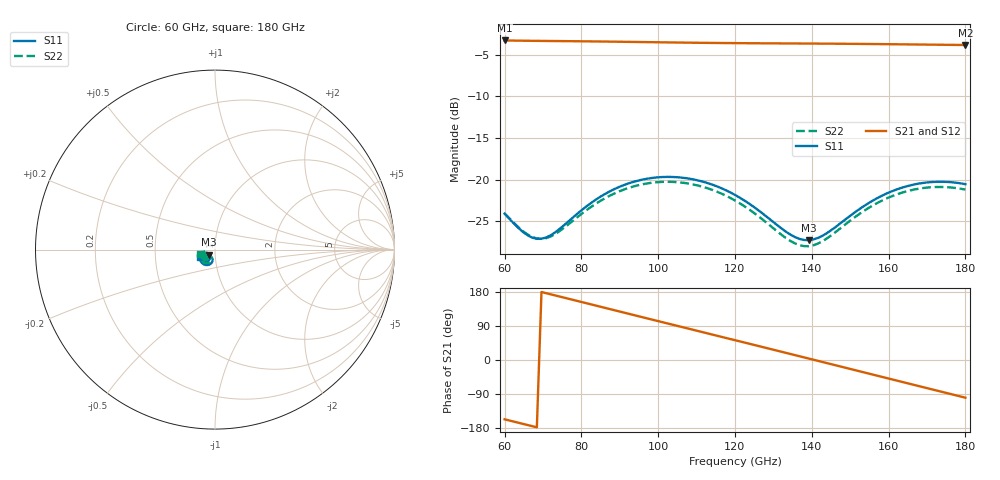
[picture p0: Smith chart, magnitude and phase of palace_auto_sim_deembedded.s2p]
! Created with skrf 1.11.0 (http://scikit-rf.org).
# GHz S DB R 50.0
!freq dBS11 angS11 dBS21 angS21 dBS12 angS12 dBS22 angS22
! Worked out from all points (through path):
!   101 points, 60 GHz to 180 GHz, reference 50 ohm
!   highest |S21| = -3.29 dB at 60 GHz (marker M1); lowest = -3.8 dB at 180 GHz (marker M2)
!   group delay of S21, straight-line fit = 7.01 ps
!   lowest |S11| = -27.2 dB at 139.2 GHz (marker M3), VSWR 1.09, Z = 46.7 - j2.63 ohm
!   |S11| at or under -10 dB: start of sweep to end of sweep
!   |S22| runs from -28.0 to -20.2 dB; largest |S21 - S12| = 7.7e-14
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60  -24.07 -145.5  -3.29 -156.6  -3.29 -156.6  -24.04 -147.8
66  -26.66 -133.9  -3.33 -171.6  -3.33 -171.6  -26.57 -138.0
69.6  -27.08 -120.9  -3.35 179.4  -3.35 179.4  -27.09 -126.4
73.2  -26.30 -109.7  -3.36 170.3  -3.36 170.3  -26.50 -115.9
80.4  -23.52 -102.8  -3.40 152.1  -3.40 152.1  -23.97 -108.8
91.2  -20.61 -113.9  -3.45 124.8  -3.45 124.8  -21.15 -119.7
96  -19.97 -121.6  -3.48 112.7  -3.48 112.7  -20.53 -127.6
100.8  -19.68 -129.8  -3.52 100.6  -3.52 100.6  -20.26 -136.0
105.6  -19.72 -138.1  -3.54 88.5  -3.54 88.5  -20.32 -144.5
110.4  -20.08 -146.0  -3.57 76.4  -3.57 76.4  -20.70 -152.6
120  -21.82 -158.9  -3.61 52.3  -3.61 52.3  -22.49 -166.0
129.6  -24.93 -161.4  -3.64 28.1  -3.64 28.1  -25.67 -168.7
135.6  -26.87 -150.7  -3.65 12.9  -3.65 12.9  -27.63 -157.8
139.2  -27.25 -139.7  -3.66 3.8  -3.66 3.8  -27.97 -146.6
140.4  -27.16 -135.9  -3.67 0.8  -3.67 0.8  -27.86 -142.9
145.2  -26.00 -124.0  -3.68 -11.4  -3.68 -11.4  -26.62 -131.4
150  -24.32 -119.4  -3.70 -23.5  -3.70 -23.5  -24.91 -127.3
154.8  -22.80 -120.3  -3.72 -35.7  -3.72 -35.7  -23.38 -128.7
160.8  -21.39 -125.7  -3.74 -50.9  -3.74 -50.9  -21.98 -134.7
170.4  -20.30 -138.5  -3.79 -75.2  -3.79 -75.2  -20.92 -148.4
175.2  -20.26 -145.6  -3.82 -87.3  -3.82 -87.3  -20.89 -155.7
180  -20.53 -152.4  -3.84 -99.4  -3.84 -99.4  -21.18 -162.9
